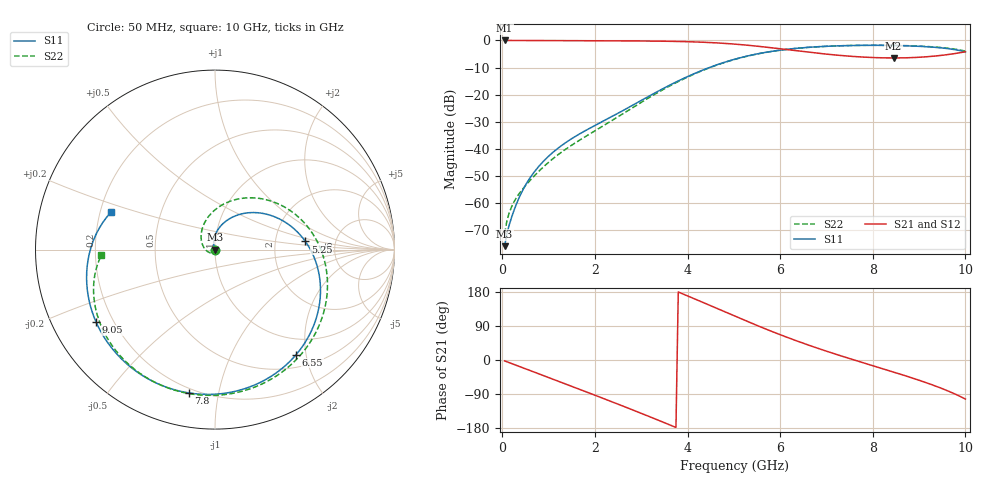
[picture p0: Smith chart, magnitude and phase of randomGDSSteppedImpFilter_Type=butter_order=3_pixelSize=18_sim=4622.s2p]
! freq	dB(S11)	phase(S11)	dB(S12)	phase(S12)
!  dB(S21)	phase(S21)	dB(S22)	phase(S22)
!S-par simulation data
#  GHz  S  DB  R 50
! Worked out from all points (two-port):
!   200 points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, 50 MHz to 10 GHz, reference 50 ohm
!   highest |S21| = 0.00 dB at 50 MHz (marker M1); lowest = -6.5 dB at 8.45 GHz (marker M2)
!   |S21| within 3 dB of the highest: start of sweep to 5.964 GHz
!   lowest |S11| = -76.0 dB at 50 MHz (marker M3), VSWR 1.00, Z = 50 - j0.0033 ohm
!   |S11| at or under -10 dB: start of sweep to 4.472 GHz
!   |S22| runs from -71.5 to -1.8 dB; largest |S21 - S12| = 0
!   S11 on the Smith chart (normalised r, x): 50 MHz: 1.00, -0.00; 5.25 GHz: 3.00, +0.36; 6.55 GHz: 0.70, -1.82; 7.8 GHz: 0.18, -0.82; 9.05 GHz: 0.14, -0.28; 10 GHz: 0.25, +0.17
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0.05  -76.02 -12.0  -0.00 -2.4  -0.00 -2.4  -71.46 -16.3
0.1  -71.34 18.9  -0.01 -4.7  -0.01 -4.7  -66.63 9.8
0.2  -65.42 67.3  -0.02 -9.3  -0.02 -9.3  -61.48 28.9
0.4  -56.75 108.1  -0.03 -18.5  -0.03 -18.5  -55.77 24.1
0.6  -50.76 119.8  -0.04 -27.8  -0.04 -27.8  -51.71 6.1
1.1  -41.25 118.8  -0.06 -50.9  -0.06 -50.9  -43.61 -39.7
1.75  -33.74 107.2  -0.09 -81.2  -0.09 -81.2  -36.00 -94.2
2.55  -26.43 96.9  -0.15 -118.9  -0.15 -118.9  -27.65 -163.2
3.4  -18.43 80.0  -0.26 -160.4  -0.26 -160.4  -18.84 132.4
4.15  -12.22 53.9  -0.54 161.5  -0.54 161.5  -12.38 84.2
4.65  -8.91 32.6  -0.92 135.3  -0.92 135.3  -9.00 54.4
5.05  -6.80 14.4  -1.40 114.3  -1.40 114.3  -6.85 31.5
5.25  -5.92 5.1  -1.69 103.9  -1.69 103.9  -5.97 20.4
5.9  -3.82 -24.6  -2.87 71.5  -2.87 71.5  -3.84 -13.5
6.55  -2.62 -52.3  -4.20 42.0  -4.20 42.0  -2.63 -43.7
6.7  -2.44 -58.4  -4.50 35.6  -4.50 35.6  -2.44 -50.2
7.8  -1.81 -100.3  -6.15 -7.5  -6.15 -7.5  -1.79 -92.9
8.35  -1.84 -120.7  -6.46 -28.1  -6.46 -28.1  -1.80 -112.5
8.45  -1.87 -124.5  -6.47 -31.8  -6.47 -31.8  -1.82 -116.0
9.05  -2.21 -148.7  -6.16 -55.5  -6.16 -55.5  -2.13 -137.6
9.55  -2.87 -172.5  -5.38 -78.0  -5.38 -78.0  -2.73 -157.1
10  -4.23 159.9  -4.17 -103.0  -4.17 -103.0  -3.95 -177.0
